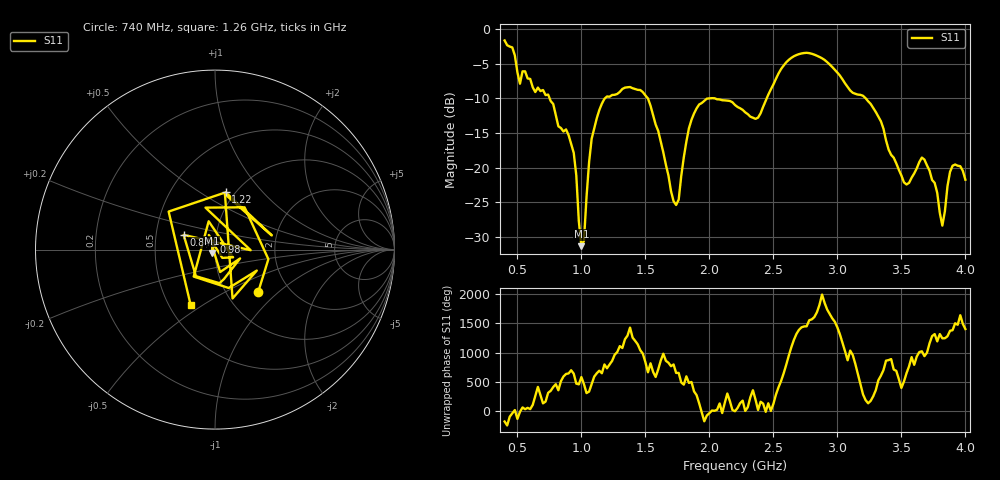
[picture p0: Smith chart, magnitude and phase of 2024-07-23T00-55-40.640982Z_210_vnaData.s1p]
!Created with skrf (http://scikit-rf.org).
# Hz S RI R 50.0
!freq ReS11 ImS11
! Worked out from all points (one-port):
!   181 points, 400 MHz to 4 GHz, reference 50 ohm
!   lowest |S11| = -31.3 dB at 1 GHz (marker M1), VSWR 1.06, Z = 48.1 - j1.86 ohm
!   |S11| at or under -10 dB: 751.6 MHz to 1.184 GHz (432.6 MHz wide, 44.7 % of centre); 1.519 GHz to 2.004 GHz (484.9 MHz wide, 27.5 % of centre); 3.221 GHz to end of sweep (the widest 3 of 4)
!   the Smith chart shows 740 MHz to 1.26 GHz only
!   S11 on the Smith chart (normalised r, x): 740 MHz: 1.40, -0.74; 840 MHz: 0.69, +0.12; 980 MHz: 0.98, +0.08; 1.22 GHz: 0.91, +0.65; 1.26 GHz: 0.64, -0.44
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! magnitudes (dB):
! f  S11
! 400 MHz  -1.7
! 520 MHz  -7.9
! 740 MHz  -9.5
! 840 MHz  -14.3
! 860 MHz  -14.8
! 940 MHz  -17.8
! 980 MHz  -27.7
! 1 GHz  -31.3
! 1.02 GHz  -30.5
! 1.08 GHz  -15.8
! 1.22 GHz  -9.8
! 1.26 GHz  -9.5
! 1.3 GHz  -9.1
! 1.52 GHz  -10.0
! 1.72 GHz  -24.8
! 1.76 GHz  -24.6
! 1.84 GHz  -14.3
! 1.9 GHz  -11.4
! 2.2 GHz  -11.0
! 2.38 GHz  -12.8
! 2.66 GHz  -3.9
! 3.1 GHz  -8.9
! 3.26 GHz  -10.8
! 3.56 GHz  -22.2
! 3.68 GHz  -18.8
! 3.82 GHz  -28.3
! 3.9 GHz  -19.7
! 4 GHz  -21.7
